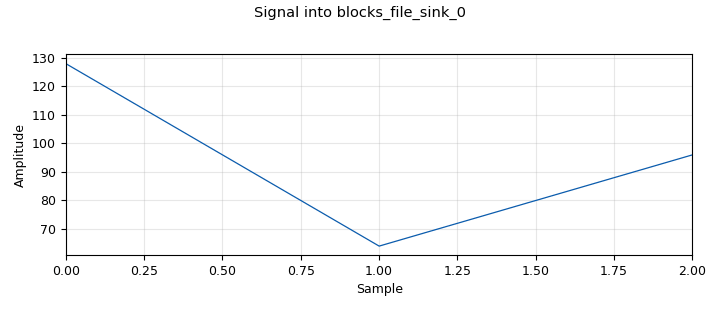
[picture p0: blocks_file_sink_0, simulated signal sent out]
<?xml version='1.0' encoding='utf-8'?>
<?grc format='1' created='3.7.9'?>
<flow_graph>
<block>
<key>options</key>
<param><key>id</key><value>test_epy_block</value></param>
<param><key>category</key><value>Custom</value></param>
<param><key>generate_options</key><value>no_gui</value></param>
<param><key>run_options</key><value>run</value></param>
</block>
<block>
<key>variable</key>
<param><key>id</key><value>samp_rate</value></param>
<param><key>value</key><value>32000</value></param>
</block>
<block>
<key>blocks_file_sink</key>
<param><key>id</key><value>blocks_file_sink_0</value></param>
<param><key>comment</key><value>&gt;&gt; see README &lt;&lt;</value></param>
<param><key>file</key><value>/home/vkn/Documents/GNUR/Flowgraphs/Logs/byte_endianess_flip.bin</value></param>
<param><key>type</key><value>byte</value></param>
</block>
<block>
<key>blocks_throttle</key>
<param><key>id</key><value>blocks_throttle_0</value></param>
<param><key>samples_per_second</key><value>samp_rate</value></param>
<param><key>type</key><value>byte</value></param>
</block>
<block>
<key>blocks_uchar_to_float</key>
<param><key>id</key><value>blocks_uchar_to_float_0</value></param>
<param><key>_enabled</key><value>0</value></param>
</block>
<block>
<key>blocks_vector_source_x</key>
<param><key>id</key><value>blocks_vector_source_x_0</value></param>
<param><key>type</key><value>byte</value></param>
<param><key>repeat</key><value>False</value></param>
<param><key>vector</key><value>(0x01, 0x02, 0x06)</value></param>
</block>
<block>
<key>epy_block</key>
<param><key>id</key><value>epy_byte_endianess_flipper</value></param>
<param><key>_source_code</key><value>"""
Embedded Python Blocks (aka EPY):

Each this file is saved, GRC will instantiate the first class it finds to get
ports and parameters of your block. The arguments to __init__  will be the
parameters. All of them are required to have default values!
"""
import numpy as np
from gnuradio import gr

class epy_byte_endianess_flipper(gr.sync_block):    # rename class here! (NB: remember this class name shall match with the EPY block ID in the .grc flowgraph)
    #def __init__(self, arg1=1.0):                  # declararion in case of block input parameter as well (here set to 1.0 by default)
    def __init__(self):
        gr.sync_block.__init__(
            self,
            name='Byte Endianess Flipper',          # rename block here!
            in_sig=[np.uint8],                      # define input type (e.g. uint8, complex64, etc.)
            out_sig=[np.uint8]                      # define output type (e.g. uint8, complex64, etc.)
        )
        #self.arg1 = arg1                           # store input parameter into class global variable
        #self.var1 = 0                              # initialize additional class global variable (to be used over work cycles, for example)


    def work(self, input_items, output_items):
        in_vect = input_items[0]                    # input items vector ("input_items[0]" by GNUR default)
        out_vect = output_items[0]                  # output items vector ("output_items[0]" by GNUR default)
        for i, X in enumerate(in_vect) :            # "i" represents the index over the input items buffer, "X" the i-th input items (see Python built-in "enumerate" function)
            OutByte = 0                             # new flipped output byte value
            for j in range(8) :                     # "j" represents the bit index over each single input byte
                RdBit = (X&gt;&gt;(7-j)) &amp; 0x01           # read j-th bit from i-th input item/byte
                OutByte |= (RdBit&lt;&lt;j)               # sum bit value after position change
            out_vect[i] = OutByte                   # write flipped byte into output buffer
        return len(out_vect)                        # return the number of output items/bytes to produce

        
"""
 NOTE#1 : The "consume" function is implicit in these EPY blocks, meaning there's always a 1:1 relation between input and output items.
"""</value></param>
</block>
<block>
<key>qtgui_time_sink_x</key>
<param><key>id</key><value>qtgui_time_sink_x_0</value></param>
<param><key>ctrlpanel</key><value>True</value></param>
<param><key>_enabled</key><value>0</value></param>
<param><key>grid</key><value>True</value></param>
<param><key>color1</key><value>"blue"</value></param>
<param><key>label1</key><value></value></param>
<param><key>marker1</key><value>0</value></param>
<param><key>size</key><value>1024</value></param>
<param><key>srate</key><value>samp_rate</value></param>
<param><key>type</key><value>float</value></param>
<param><key>ylabel</key><value>Byte value</value></param>
<param><key>ymax</key><value>256</value></param>
</block>
<connection><source_block_id>blocks_throttle_0</source_block_id><sink_block_id>blocks_file_sink_0</sink_block_id><source_key>0</source_key><sink_key>0</sink_key></connection>
<connection><source_block_id>blocks_throttle_0</source_block_id><sink_block_id>blocks_uchar_to_float_0</sink_block_id><source_key>0</source_key><sink_key>0</sink_key></connection>
<connection><source_block_id>blocks_uchar_to_float_0</source_block_id><sink_block_id>qtgui_time_sink_x_0</sink_block_id><source_key>0</source_key><sink_key>0</sink_key></connection>
<connection><source_block_id>blocks_vector_source_x_0</source_block_id><sink_block_id>epy_byte_endianess_flipper</sink_block_id><source_key>0</source_key><sink_key>0</sink_key></connection>
<connection><source_block_id>epy_byte_endianess_flipper</source_block_id><sink_block_id>blocks_throttle_0</sink_block_id><source_key>0</source_key><sink_key>0</sink_key></connection>
</flow_graph>
